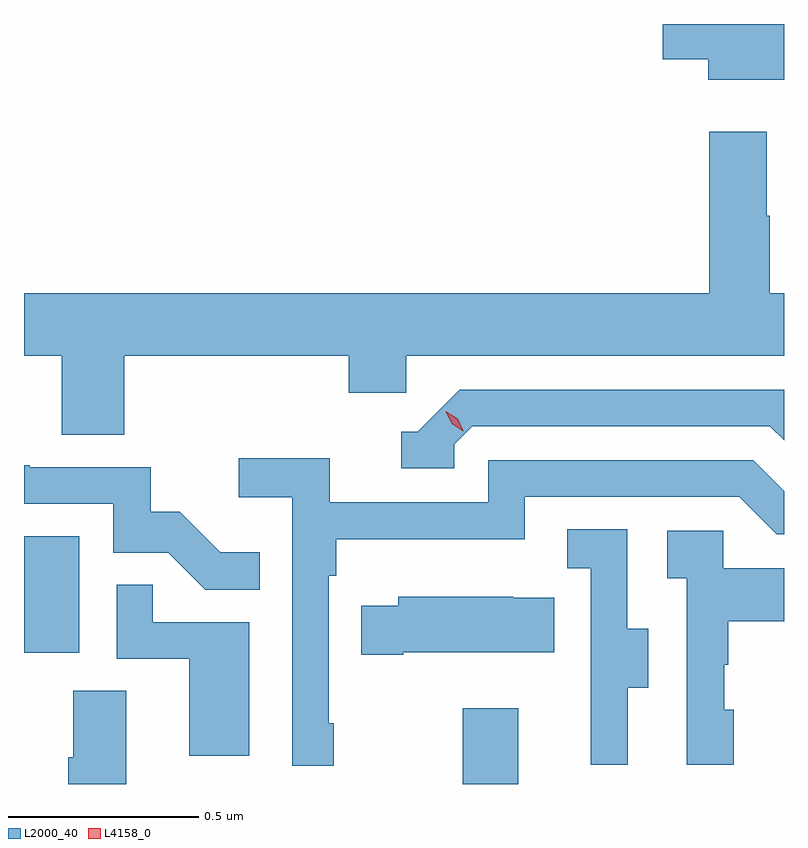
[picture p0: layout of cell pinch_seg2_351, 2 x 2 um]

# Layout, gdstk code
import gdstk
lib = gdstk.Library(unit=1e-6, precision=1e-09)
def R(c, l, rs):  # rectangles x0, y0, x1, y1
    for r in rs: c.add(gdstk.rectangle(r[:2], r[2:], *l))
def P(c, l, *ps):  # polygons
    for p in ps: c.add(gdstk.Polygon(p, *l))
L2000_40 = (2000, 40)
L4158_0 = (4158, 0)

pinch_seg2_351 = lib.new_cell('pinch_seg2_351')
R(pinch_seg2_351, L2000_40, [(977.68,641.181,977.827,641.38), (976.526,641.526,976.672,641.833)])
P(pinch_seg2_351, L2000_40, [(978.526,643.181),(978.207,643.181),(978.207,643.088),(978.326,643.088),(978.326,643.034),(978.526,643.034)],
  [(976.79,642.308),(977.381,642.308),(977.381,642.21),(977.532,642.21),(977.532,642.308),(978.526,642.308),(978.526,642.472),(978.489,642.472),(978.489,642.677),(978.481,642.677),(978.481,642.898),(978.329,642.898),(978.329,642.472),(976.526,642.472),(976.526,642.308),(976.625,642.308),(976.625,642.1),(976.79,642.1)],
  [(977.658,642.075),(977.706,642.123),(978.489,642.123),(978.526,642.086),(978.526,642.219),(977.673,642.219),(977.562,642.108),(977.519,642.108),(977.519,642.012),(977.658,642.012)],
  [(977.341,641.341),(977.328,641.341),(977.328,641.729),(977.348,641.729),(977.348,641.825),(977.844,641.825),(977.844,641.937),(978.408,641.937),(978.507,641.838),(978.526,641.838),(978.526,641.952),(978.445,642.033),(977.748,642.033),(977.748,641.922),(977.33,641.922),(977.33,642.038),(977.091,642.038),(977.091,641.936),(977.232,641.936),(977.232,641.229),(977.341,641.229)],
  [(977.147,641.791),(977.043,641.791),(976.936,641.898),(976.86,641.898),(976.86,642.015),(976.541,642.015),(976.541,642.02),(976.526,642.02),(976.526,641.919),(976.761,641.919),(976.761,641.79),(976.905,641.79),(977.003,641.692),(977.147,641.692)],
  [(978.115,641.434),(978.169,641.434),(978.169,641.589),(978.114,641.589),(978.114,641.852),(977.955,641.852),(977.955,641.749),(978.018,641.749),(978.018,641.445),(978.017,641.445),(978.017,641.232),(978.115,641.232)],
  [(978.394,641.376),(978.369,641.376),(978.369,641.495),(978.379,641.495),(978.379,641.609),(978.526,641.609),(978.526,641.749),(978.366,641.749),(978.366,641.847),(978.219,641.847),(978.219,641.723),(978.27,641.723),(978.27,641.232),(978.394,641.232)],
  [(977.119,641.607),(976.865,641.607),(976.865,641.705),(976.77,641.705),(976.77,641.511),(976.961,641.511),(976.961,641.256),(977.119,641.256)],
  [(977.524,641.528),(977.921,641.528),(977.921,641.671),(977.813,641.671),(977.813,641.674),(977.511,641.674),(977.511,641.65),(977.413,641.65),(977.413,641.521),(977.524,641.521)],
  [(976.795,641.426),(976.655,641.426),(976.655,641.252),(976.643,641.252),(976.643,641.181),(976.795,641.181)])
P(pinch_seg2_351, L4158_0, [(977.682,642.109),(977.652,642.129),(977.636,642.162),(977.636,642.162),(977.636,642.162),(977.667,642.142),(977.682,642.11),(977.682,642.109)])

lib.write_gds('pinch_seg2_351.gds')
